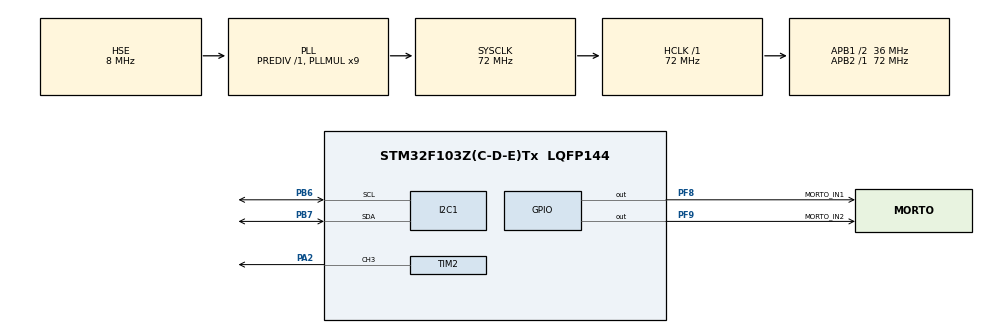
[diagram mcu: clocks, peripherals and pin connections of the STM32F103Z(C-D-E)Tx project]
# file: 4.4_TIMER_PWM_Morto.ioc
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Mcu.Family=STM32F1
Mcu.Name=STM32F103Z(C-D-E)Tx
Mcu.Package=LQFP144
NVIC.PriorityGroup=NVIC_PRIORITYGROUP_4
OSC_IN.Mode=HSE-External-Oscillator
OSC_IN.Signal=RCC_OSC_IN
OSC_OUT.Mode=HSE-External-Oscillator
OSC_OUT.Signal=RCC_OSC_OUT
PA13.Mode=Serial_Wire
PA13.Signal=SYS_JTMS-SWDIO
PA14.Mode=Serial_Wire
PA14.Signal=SYS_JTCK-SWCLK
PA2.Signal=S_TIM2_CH3
PB6.Mode=I2C
PB6.Signal=I2C1_SCL
PB7.Mode=I2C
PB7.Signal=I2C1_SDA
PF8.GPIO_Label=MORTO_IN1
PF8.Signal=GPIO_Output
PF9.GPIO_Label=MORTO_IN2
PF9.Signal=GPIO_Output
ProjectManager.HeapSize=0x200
ProjectManager.StackSize=0x400
ProjectManager.TargetToolchain=STM32CubeIDE
RCC.AHBFreq_Value=72000000
RCC.APB1CLKDivider=RCC_HCLK_DIV2
RCC.APB1Freq_Value=36000000
RCC.APB1TimFreq_Value=72000000
RCC.APB2Freq_Value=72000000
RCC.APB2TimFreq_Value=72000000
RCC.HCLKFreq_Value=72000000
RCC.PLLMUL=RCC_PLL_MUL9
RCC.PLLSourceVirtual=RCC_PLLSOURCE_HSE
RCC.SYSCLKFreq_VALUE=72000000
RCC.SYSCLKSource=RCC_SYSCLKSOURCE_PLLCLK
RCC.USBFreq_Value=72000000
SH.S_TIM2_CH3.0=TIM2_CH3,PWM Generation3 CH3
TIM2.AutoReloadPreload=TIM_AUTORELOAD_PRELOAD_ENABLE
TIM2.Channel-PWM\ Generation3\ CH3=TIM_CHANNEL_3
TIM2.Period=1000 - 1
TIM2.Prescaler=71
VP_TIM2_VS_ClockSourceINT.Mode=Internal
board=custom

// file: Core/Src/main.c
/* USER CODE BEGIN Header */
/**
  ******************************************************************************
  * @file           : main.c
  * @brief          : Main program body
  ******************************************************************************
  * @attention
  *
  * Copyright (c) 2024 STMicroelectronics.
  * All rights reserved.
  *
  * This software is licensed under terms that can be found in the LICENSE file
  * in the root directory of this software component.
  * If no LICENSE file comes with this software, it is provided AS-IS.
  *
  ******************************************************************************
  */
/* USER CODE END Header */
#include "main.h"
#include "i2c.h"
#include "tim.h"
#include "gpio.h"

/* USER CODE BEGIN Includes */
#include "OLED.h"
/* USER CODE END Includes */

/* USER CODE BEGIN PV */
uint16_t speed;
/* USER CODE END PV */

void SystemClock_Config(void);

int main(void)
{

  /* MCU Configuration--------------------------------------------------------*/

  /* Reset of all peripherals, Initializes the Flash interface and the Systick. */
  HAL_Init();

  /* Configure the system clock */
  SystemClock_Config();

  /* Initialize all configured peripherals */
  MX_GPIO_Init();
  MX_TIM2_Init();
  MX_I2C1_Init();
  /* USER CODE BEGIN 2 */
  OLED_Init();
  HAL_TIM_PWM_Start(&htim2, TIM_CHANNEL_3);
  OLED_ShowString(1, 1,"speed:");

  /* USER CODE END 2 */

  /* Infinite loop */
  /* USER CODE BEGIN WHILE */
  while (1)
  {
	  while(speed < 100)
	  {
		  HAL_GPIO_WritePin(GPIOF, GPIO_PIN_8, GPIO_PIN_SET);
		  HAL_GPIO_WritePin(GPIOF, GPIO_PIN_9, GPIO_PIN_RESET);
		  speed++;
		  __HAL_TIM_SET_COMPARE(&htim2, TIM_CHANNEL_3, speed );
		  OLED_ShowNum(1, 7, speed, 4);
		  HAL_Delay(100);
	  }

	  while(speed)
	  {
		  speed--;
		  HAL_GPIO_WritePin(GPIOF, GPIO_PIN_9, GPIO_PIN_SET);
		  HAL_GPIO_WritePin(GPIOF, GPIO_PIN_8, GPIO_PIN_RESET);
		  __HAL_TIM_SET_COMPARE(&htim2, TIM_CHANNEL_3,speed);
		  OLED_ShowNum(1, 7, speed, 4);
		  HAL_Delay(100);
	  }

    /* USER CODE END WHILE */

  }
}

void SystemClock_Config(void)
{
  RCC_OscInitTypeDef RCC_OscInitStruct = {0};
  RCC_ClkInitTypeDef RCC_ClkInitStruct = {0};

  /** Initializes the RCC Oscillators according to the specified parameters
  * in the RCC_OscInitTypeDef structure.
  */
  RCC_OscInitStruct.OscillatorType = RCC_OSCILLATORTYPE_HSE;
  RCC_OscInitStruct.HSEState = RCC_HSE_ON;
  RCC_OscInitStruct.HSEPredivValue = RCC_HSE_PREDIV_DIV1;
  RCC_OscInitStruct.HSIState = RCC_HSI_ON;
  RCC_OscInitStruct.PLL.PLLState = RCC_PLL_ON;
  RCC_OscInitStruct.PLL.PLLSource = RCC_PLLSOURCE_HSE;
  RCC_OscInitStruct.PLL.PLLMUL = RCC_PLL_MUL9;
  if (HAL_RCC_OscConfig(&RCC_OscInitStruct) != HAL_OK)
  {
    Error_Handler();
  }

  /** Initializes the CPU, AHB and APB buses clocks
  */
  RCC_ClkInitStruct.ClockType = RCC_CLOCKTYPE_HCLK|RCC_CLOCKTYPE_SYSCLK
                              |RCC_CLOCKTYPE_PCLK1|RCC_CLOCKTYPE_PCLK2;
  RCC_ClkInitStruct.SYSCLKSource = RCC_SYSCLKSOURCE_PLLCLK;
  RCC_ClkInitStruct.AHBCLKDivider = RCC_SYSCLK_DIV1;
  RCC_ClkInitStruct.APB1CLKDivider = RCC_HCLK_DIV2;
  RCC_ClkInitStruct.APB2CLKDivider = RCC_HCLK_DIV1;

  if (HAL_RCC_ClockConfig(&RCC_ClkInitStruct, FLASH_LATENCY_2) != HAL_OK)
  {
    Error_Handler();
  }
}

void Error_Handler(void)
{
  __disable_irq();
  while (1)
  {
  }
}
